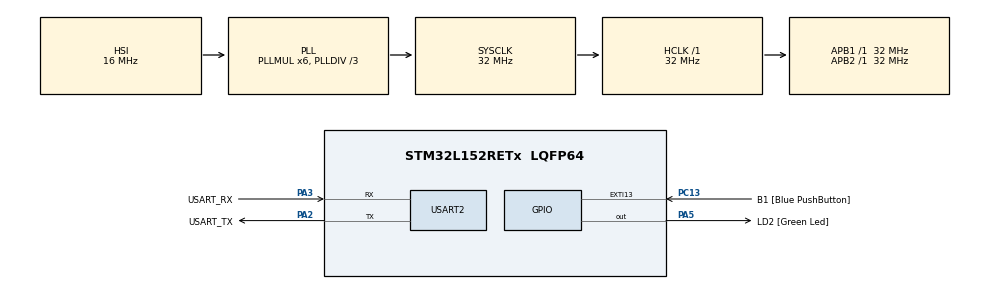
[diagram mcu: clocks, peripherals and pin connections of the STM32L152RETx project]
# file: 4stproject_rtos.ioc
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FREERTOS.Tasks01=defaultTask,0,128,StartDefaultTask,Default,NULL,Dynamic,NULL,NULL
Mcu.Family=STM32L1
Mcu.Name=STM32L152RETx
Mcu.Package=LQFP64
NVIC.PriorityGroup=NVIC_PRIORITYGROUP_4
NVIC.TIM6_IRQn=true\:15\:0\:false\:false\:true\:false\:false\:true\:true
NVIC.TimeBase=TIM6_IRQn
NVIC.TimeBaseIP=TIM6
PA13.GPIO_Label=TMS
PA13.Mode=Serial_Wire
PA13.Signal=SYS_JTMS-SWDIO
PA14.GPIO_Label=TCK
PA14.Mode=Serial_Wire
PA14.Signal=SYS_JTCK-SWCLK
PA2.GPIO_Label=USART_TX
PA2.Mode=Asynchronous
PA2.Signal=USART2_TX
PA3.GPIO_Label=USART_RX
PA3.Mode=Asynchronous
PA3.Signal=USART2_RX
PA5.GPIO_Label=LD2 [Green Led]
PA5.Signal=GPIO_Output
PB3.GPIO_Label=SWO
PB3.Signal=SYS_JTDO-TRACESWO
PC13-WKUP2.GPIO_Label=B1 [Blue PushButton]
PC13-WKUP2.Signal=GPXTI13
PC14-OSC32_IN.Mode=LSE-External-Oscillator
PC14-OSC32_IN.Signal=RCC_OSC32_IN
PC15-OSC32_OUT.Mode=LSE-External-Oscillator
PC15-OSC32_OUT.Signal=RCC_OSC32_OUT
PH0-OSC_IN.Mode=HSE-External-Clock-Source
PH0-OSC_IN.Signal=RCC_OSC_IN
PH1-OSC_OUT.Signal=RCC_OSC_OUT
ProjectManager.HeapSize=0x200
ProjectManager.StackSize=0x400
ProjectManager.TargetToolchain=STM32CubeIDE
RCC.48MHZClocksFreq_Value=48000000
RCC.AHBFreq_Value=32000000
RCC.APB1Freq_Value=32000000
RCC.APB1TimFreq_Value=32000000
RCC.APB2Freq_Value=32000000
RCC.APB2TimFreq_Value=32000000
RCC.HCLKFreq_Value=32000000
RCC.HSE_VALUE=8000000
RCC.HSI_VALUE=16000000
RCC.MSI_VALUE=2097000
RCC.PLLDIV=RCC_PLL_DIV3
RCC.PLLMUL=RCC_PLL_MUL6
RCC.RTCClockSelectionVirtual=RCC_RTCCLKSOURCE_LSE
RCC.SYSCLKFreq_VALUE=32000000
RCC.SYSCLKSource=RCC_SYSCLKSOURCE_PLLCLK
RCC.USBOutput=48000000
RCC.VCOOutputFreq_Value=96000000
USART2.VirtualMode=VM_ASYNC
VP_FREERTOS_VS_CMSIS_V1.Mode=CMSIS_V1
VP_SYS_VS_tim6.Mode=TIM6
board=NUCLEO-L152RE

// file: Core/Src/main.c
/* USER CODE BEGIN Header */
/**
  ******************************************************************************
  * @file           : main.c
  * @brief          : Main program body
  ******************************************************************************
  * @attention
  *
  * <h2><center>&copy; Copyright (c) 2026 STMicroelectronics.
  * All rights reserved.</center></h2>
  *
  * This software component is licensed by ST under BSD 3-Clause license,
  * the "License"; You may not use this file except in compliance with the
  * License. You may obtain a copy of the License at:
  *                        opensource.org/licenses/BSD-3-Clause
  *
  ******************************************************************************
  */
/* USER CODE END Header */
#include "main.h"

/* USER CODE BEGIN Includes */
#include "stdio.h"
#include "freertos.h"
#include "task.h"

/* USER CODE END Includes */

/* USER CODE BEGIN PD */

#define up	 1
#define down 0

/* USER CODE END PD */

UART_HandleTypeDef huart2;

/* USER CODE BEGIN PV */

TaskHandle_t myTaskHandle = NULL;

uint8_t LED_One = 0;
uint8_t LED_Two = 0;
uint8_t LED_Three = 0;

uint8_t sharedDataFlag = up;

uint32_t t_idle = 0;

/* USER CODE END PV */

void SystemClock_Config(void);
static void MX_GPIO_Init(void);
static void MX_USART2_UART_Init(void);

/* USER CODE BEGIN PFP */
void myTask(void *);

/* USER CODE END PFP */

/* USER CODE BEGIN 0 */
void myTask(void *p) {
	uint32_t compteur = 0;

	while (1) {
		printf("rentre dans task1: %lu\r\n", t_idle);
		LED_One ^= 0x1;
		while(compteur<150000) compteur++;
		compteur = 0;
		vTaskDelay(100);
	}
}

/* USER CODE END 0 */

int main(void)
{

  /* MCU Configuration--------------------------------------------------------*/

  /* Reset of all peripherals, Initializes the Flash interface and the Systick. */
  HAL_Init();

  /* Configure the system clock */
  SystemClock_Config();

  /* Initialize all configured peripherals */
  MX_GPIO_Init();
  MX_USART2_UART_Init();

  /* Create the thread(s) */
  /* definition and creation of task1 */

  /* USER CODE BEGIN RTOS_THREADS */
  /* add threads, ... */

  xTaskCreate(myTask, "task", 200, (void *) NULL, 0, &myTaskHandle);

  /* USER CODE END RTOS_THREADS */

  /* Start scheduler */
  vTaskStartScheduler();

  /* We should never get here as control is now taken by the scheduler */
  /* Infinite loop */
  while (1)
  {

  }
}

void SystemClock_Config(void)
{
  RCC_OscInitTypeDef RCC_OscInitStruct = {0};
  RCC_ClkInitTypeDef RCC_ClkInitStruct = {0};

  /** Configure the main internal regulator output voltage
  */
  __HAL_PWR_VOLTAGESCALING_CONFIG(PWR_REGULATOR_VOLTAGE_SCALE1);
  /** Initializes the RCC Oscillators according to the specified parameters
  * in the RCC_OscInitTypeDef structure.
  */
  RCC_OscInitStruct.OscillatorType = RCC_OSCILLATORTYPE_HSI;
  RCC_OscInitStruct.HSIState = RCC_HSI_ON;
  RCC_OscInitStruct.HSICalibrationValue = RCC_HSICALIBRATION_DEFAULT;
  RCC_OscInitStruct.PLL.PLLState = RCC_PLL_ON;
  RCC_OscInitStruct.PLL.PLLSource = RCC_PLLSOURCE_HSI;
  RCC_OscInitStruct.PLL.PLLMUL = RCC_PLL_MUL6;
  RCC_OscInitStruct.PLL.PLLDIV = RCC_PLL_DIV3;
  if (HAL_RCC_OscConfig(&RCC_OscInitStruct) != HAL_OK)
  {
    Error_Handler();
  }
  /** Initializes the CPU, AHB and APB buses clocks
  */
  RCC_ClkInitStruct.ClockType = RCC_CLOCKTYPE_HCLK|RCC_CLOCKTYPE_SYSCLK
                              |RCC_CLOCKTYPE_PCLK1|RCC_CLOCKTYPE_PCLK2;
  RCC_ClkInitStruct.SYSCLKSource = RCC_SYSCLKSOURCE_PLLCLK;
  RCC_ClkInitStruct.AHBCLKDivider = RCC_SYSCLK_DIV1;
  RCC_ClkInitStruct.APB1CLKDivider = RCC_HCLK_DIV1;
  RCC_ClkInitStruct.APB2CLKDivider = RCC_HCLK_DIV1;

  if (HAL_RCC_ClockConfig(&RCC_ClkInitStruct, FLASH_LATENCY_1) != HAL_OK)
  {
    Error_Handler();
  }
}

static void MX_USART2_UART_Init(void)
{

  huart2.Instance = USART2;
  huart2.Init.BaudRate = 115200;
  huart2.Init.WordLength = UART_WORDLENGTH_8B;
  huart2.Init.StopBits = UART_STOPBITS_1;
  huart2.Init.Parity = UART_PARITY_NONE;
  huart2.Init.Mode = UART_MODE_TX_RX;
  huart2.Init.HwFlowCtl = UART_HWCONTROL_NONE;
  huart2.Init.OverSampling = UART_OVERSAMPLING_16;
  if (HAL_UART_Init(&huart2) != HAL_OK)
  {
    Error_Handler();
  }

}

static void MX_GPIO_Init(void)
{
  GPIO_InitTypeDef GPIO_InitStruct = {0};

  /* GPIO Ports Clock Enable */
  __HAL_RCC_GPIOC_CLK_ENABLE();
  __HAL_RCC_GPIOH_CLK_ENABLE();
  __HAL_RCC_GPIOA_CLK_ENABLE();
  __HAL_RCC_GPIOB_CLK_ENABLE();

  /*Configure GPIO pin Output Level */
  HAL_GPIO_WritePin(LD2_GPIO_Port, LD2_Pin, GPIO_PIN_RESET);

  /*Configure GPIO pin : B1_Pin */
  GPIO_InitStruct.Pin = B1_Pin;
  GPIO_InitStruct.Mode = GPIO_MODE_IT_RISING;
  GPIO_InitStruct.Pull = GPIO_NOPULL;
  HAL_GPIO_Init(B1_GPIO_Port, &GPIO_InitStruct);

  /*Configure GPIO pin : LD2_Pin */
  GPIO_InitStruct.Pin = LD2_Pin;
  GPIO_InitStruct.Mode = GPIO_MODE_OUTPUT_PP;
  GPIO_InitStruct.Pull = GPIO_NOPULL;
  GPIO_InitStruct.Speed = GPIO_SPEED_FREQ_LOW;
  HAL_GPIO_Init(LD2_GPIO_Port, &GPIO_InitStruct);

}

/* USER CODE BEGIN 4 */
int _write(int file, char *ptr, int len) {
	(void)file;
	int DataIdx;

	for (DataIdx = 0; DataIdx < len; DataIdx++) {
		ITM_SendChar (*ptr++);
	}

	return len;
}

void vApplicationIdleHook(void) {
    t_idle++;
}

/* USER CODE END 4 */

void HAL_TIM_PeriodElapsedCallback(TIM_HandleTypeDef *htim)
{
  if (htim->Instance == TIM6) {
    HAL_IncTick();
  }
}

void Error_Handler(void)
{
  __disable_irq();
  while (1)
  {
  }
}

/************************ (C) COPYRIGHT STMicroelectronics *****END OF FILE****/
